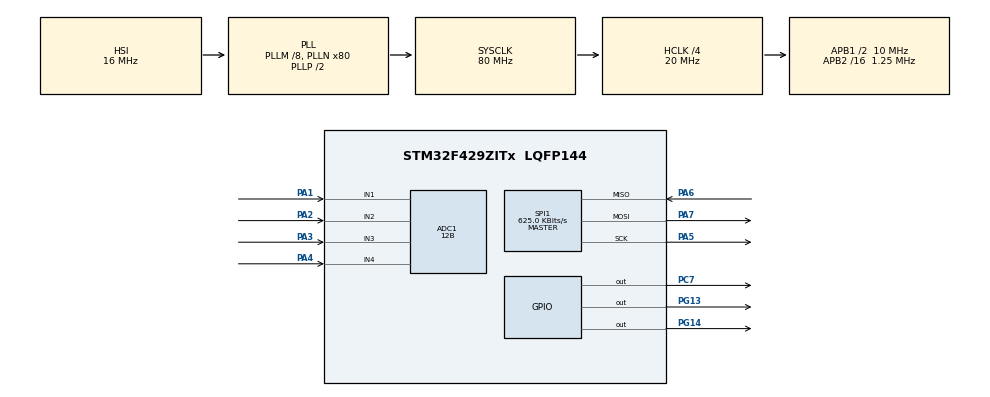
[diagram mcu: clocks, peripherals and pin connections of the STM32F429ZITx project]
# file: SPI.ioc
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ADC1.Channel-13\#ChannelRegularConversion=ADC_CHANNEL_1
ADC1.Channel-14\#ChannelRegularConversion=ADC_CHANNEL_2
ADC1.Channel-15\#ChannelRegularConversion=ADC_CHANNEL_3
ADC1.Channel-16\#ChannelRegularConversion=ADC_CHANNEL_4
ADC1.ContinuousConvMode=ENABLE
ADC1.DMAContinuousRequests=ENABLE
ADC1.NbrOfConversion=4
ADC1.NbrOfConversionFlag=1
ADC1.Rank-13\#ChannelRegularConversion=1
ADC1.Rank-14\#ChannelRegularConversion=2
ADC1.Rank-15\#ChannelRegularConversion=3
ADC1.Rank-16\#ChannelRegularConversion=4
ADC1.Resolution=ADC_RESOLUTION_12B
ADC1.SamplingTime-13\#ChannelRegularConversion=ADC_SAMPLETIME_480CYCLES
ADC1.SamplingTime-14\#ChannelRegularConversion=ADC_SAMPLETIME_480CYCLES
ADC1.SamplingTime-15\#ChannelRegularConversion=ADC_SAMPLETIME_480CYCLES
ADC1.SamplingTime-16\#ChannelRegularConversion=ADC_SAMPLETIME_480CYCLES
ADC1.ScanConvMode=ENABLE
ADC1.master=1
Dma.ADC1.2.Direction=DMA_PERIPH_TO_MEMORY
Dma.ADC1.2.FIFOMode=DMA_FIFOMODE_DISABLE
Dma.ADC1.2.Instance=DMA2_Stream4
Dma.ADC1.2.MemDataAlignment=DMA_MDATAALIGN_HALFWORD
Dma.ADC1.2.MemInc=DMA_MINC_ENABLE
Dma.ADC1.2.Mode=DMA_CIRCULAR
Dma.ADC1.2.PeriphDataAlignment=DMA_PDATAALIGN_HALFWORD
Dma.ADC1.2.PeriphInc=DMA_PINC_DISABLE
Dma.ADC1.2.Priority=DMA_PRIORITY_LOW
Dma.Request0=SPI1_RX
Dma.Request1=SPI1_TX
Dma.Request2=ADC1
Dma.SPI1_RX.0.Direction=DMA_PERIPH_TO_MEMORY
Dma.SPI1_RX.0.FIFOMode=DMA_FIFOMODE_DISABLE
Dma.SPI1_RX.0.Instance=DMA2_Stream0
Dma.SPI1_RX.0.MemDataAlignment=DMA_MDATAALIGN_BYTE
Dma.SPI1_RX.0.MemInc=DMA_MINC_ENABLE
Dma.SPI1_RX.0.Mode=DMA_NORMAL
Dma.SPI1_RX.0.PeriphDataAlignment=DMA_PDATAALIGN_BYTE
Dma.SPI1_RX.0.PeriphInc=DMA_PINC_DISABLE
Dma.SPI1_RX.0.Priority=DMA_PRIORITY_LOW
Dma.SPI1_TX.1.Direction=DMA_MEMORY_TO_PERIPH
Dma.SPI1_TX.1.FIFOMode=DMA_FIFOMODE_DISABLE
Dma.SPI1_TX.1.Instance=DMA2_Stream3
Dma.SPI1_TX.1.MemDataAlignment=DMA_MDATAALIGN_BYTE
Dma.SPI1_TX.1.MemInc=DMA_MINC_ENABLE
Dma.SPI1_TX.1.Mode=DMA_NORMAL
Dma.SPI1_TX.1.PeriphDataAlignment=DMA_PDATAALIGN_BYTE
Dma.SPI1_TX.1.PeriphInc=DMA_PINC_DISABLE
Dma.SPI1_TX.1.Priority=DMA_PRIORITY_LOW
FATFS._MAX_SS=4096
FATFS._USE_LFN=1
Mcu.Family=STM32F4
Mcu.Name=STM32F429ZITx
Mcu.Package=LQFP144
NVIC.DMA2_Stream0_IRQn=true\:0\:0\:false\:false\:true\:true\:true
NVIC.DMA2_Stream3_IRQn=true\:0\:0\:false\:false\:true\:true\:true
NVIC.DMA2_Stream4_IRQn=true\:0\:0\:false\:false\:true\:false\:true
NVIC.PriorityGroup=NVIC_PRIORITYGROUP_0
NVIC.SPI1_IRQn=true\:0\:0\:false\:false\:true\:true\:true
PA1.Signal=ADCx_IN1
PA2.Signal=ADCx_IN2
PA3.Signal=ADCx_IN3
PA4.Signal=ADCx_IN4
PA5.Mode=Full_Duplex_Master
PA5.Signal=SPI1_SCK
PA6.Mode=Full_Duplex_Master
PA6.Signal=SPI1_MISO
PA7.Mode=Full_Duplex_Master
PA7.Signal=SPI1_MOSI
PC7.GPIO_Speed=GPIO_SPEED_FREQ_MEDIUM
PC7.PinState=GPIO_PIN_SET
PC7.Signal=GPIO_Output
PG13.Signal=GPIO_Output
PG14.Signal=GPIO_Output
ProjectManager.HeapSize=0x2000
ProjectManager.StackSize=0x4000
ProjectManager.TargetToolchain=MDK-ARM V5
RCC.48MHZClocksFreq_Value=22857142.85714286
RCC.AHBCLKDivider=RCC_SYSCLK_DIV4
RCC.AHBFreq_Value=20000000
RCC.APB1CLKDivider=RCC_HCLK_DIV2
RCC.APB1Freq_Value=10000000
RCC.APB1TimFreq_Value=20000000
RCC.APB2CLKDivider=RCC_HCLK_DIV16
RCC.APB2Freq_Value=1250000
RCC.APB2TimFreq_Value=2500000
RCC.CortexFreq_Value=20000000
RCC.HCLKFreq_Value=20000000
RCC.HSE_VALUE=8000000
RCC.HSI_VALUE=16000000
RCC.LSE_VALUE=32768
RCC.PLLM=8
RCC.PLLN=80
RCC.PLLQ=7
RCC.SYSCLKFreq_VALUE=80000000
RCC.SYSCLKSource=RCC_SYSCLKSOURCE_PLLCLK
RCC.VCOOutputFreq_Value=160000000
SH.ADCx_IN1.0=ADC1_IN1,IN1
SH.ADCx_IN2.0=ADC1_IN2,IN2
SH.ADCx_IN3.0=ADC1_IN3,IN3
SH.ADCx_IN4.0=ADC1_IN4,IN4
SPI1.BaudRatePrescaler=SPI_BAUDRATEPRESCALER_2
SPI1.CalculateBaudRate=625.0 KBits/s
SPI1.Direction=SPI_DIRECTION_2LINES
SPI1.Mode=SPI_MODE_MASTER
SPI1.VirtualType=VM_MASTER
VP_FATFS_VS_Generic.Mode=User_defined
board=custom

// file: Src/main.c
/* USER CODE BEGIN Header */
/**
  ******************************************************************************
  * @file           : main.c
  * @brief          : Main program body
  ******************************************************************************
  * @attention
  *
  * <h2><center>&copy; Copyright (c) 2019 STMicroelectronics.
  * All rights reserved.</center></h2>
  *
  * This software component is licensed by ST under Ultimate Liberty license
  * SLA0044, the "License"; You may not use this file except in compliance with
  * the License. You may obtain a copy of the License at:
  *                             www.st.com/SLA0044
  *
  ******************************************************************************
  */
/* USER CODE END Header */

#include "main.h"
#include "fatfs.h"
#include<stdio.h>
#include<string.h>

ADC_HandleTypeDef hadc1;
DMA_HandleTypeDef hdma_adc1;

SPI_HandleTypeDef hspi1;
DMA_HandleTypeDef hdma_spi1_rx;
DMA_HandleTypeDef hdma_spi1_tx;

/* USER CODE BEGIN PV */
/* Private variables ---------------------------------------------------------*/
extern volatile uint16_t Timer3;
extern volatile uint16_t Timer4;
void changeCLKSpeed(void);
volatile uint16_t adcValArray[4];
volatile int numEntries = 0;
volatile uint16_t counter = 0;
int writeDelay = 2500;
volatile int numWrites = 0;
uint32_t AINHolder[20][5];
/* USER CODE END PV */

void SystemClock_Config(void);
static void MX_GPIO_Init(void);
static void MX_DMA_Init(void);
static void MX_SPI1_Init(void);
static void MX_ADC1_Init(void);
/* USER CODE BEGIN PFP */
/* Private function prototypes -----------------------------------------------*/

/* USER CODE END PFP */

int main(void)
{

  /* MCU Configuration--------------------------------------------------------*/

  /* Reset of all peripherals, Initializes the Flash interface and the Systick. */
  HAL_Init();

  /* Configure the system clock */
  SystemClock_Config();

  /* Initialize all configured peripherals */
  MX_GPIO_Init();
  MX_DMA_Init();
  MX_SPI1_Init();
  MX_FATFS_Init();
  MX_ADC1_Init();
  /* USER CODE BEGIN 2 */
	FATFS myFATFS;
	FIL myFILE;

	// testing of file writes/writing legend to data file
	if(f_mount(&myFATFS, USERPath, 1) == FR_OK){
			HAL_GPIO_WritePin ( GPIOG , GPIO_PIN_13 ,  GPIO_PIN_SET ) ;
	}
	char myFileName[] = "DATA.txt";
	changeCLKSpeed();
	if(f_open(&myFILE, myFileName, FA_WRITE|FA_OPEN_APPEND) == FR_OK){
			HAL_GPIO_WritePin ( GPIOG , GPIO_PIN_14 ,  GPIO_PIN_SET ) ;
	}
	else{
		HAL_GPIO_WritePin ( GPIOG , GPIO_PIN_13 ,  GPIO_PIN_RESET ) ;
	}
	if(f_printf(&myFILE, "%s,%s,%s,%s,%s\n%", "Time(ms)", "AIN0", "AIN1", "AIN2", "AIN3")){
			HAL_GPIO_WritePin ( GPIOG , GPIO_PIN_13 ,  GPIO_PIN_SET ) ;
			HAL_GPIO_WritePin ( GPIOG , GPIO_PIN_14 ,  GPIO_PIN_RESET ) ;
	}
	else{
		HAL_GPIO_WritePin ( GPIOG , GPIO_PIN_13 ,  GPIO_PIN_RESET ) ;
		HAL_GPIO_WritePin ( GPIOG , GPIO_PIN_14 ,  GPIO_PIN_SET ) ;
	}
	if(f_close(&myFILE) == FR_OK){
		HAL_GPIO_WritePin ( GPIOG , GPIO_PIN_13 ,  GPIO_PIN_SET ) ;
		HAL_GPIO_WritePin ( GPIOG , GPIO_PIN_14 ,  GPIO_PIN_SET ) ;
	}
	else{
		HAL_GPIO_WritePin ( GPIOG , GPIO_PIN_13 ,  GPIO_PIN_RESET ) ;
		HAL_GPIO_WritePin ( GPIOG , GPIO_PIN_14 ,  GPIO_PIN_RESET ) ;
	}

	// setup for DMA
	HAL_ADC_Start_DMA(&hadc1, (uint32_t *) adcValArray, 4);
  /* USER CODE END 2 */

  /* Infinite loop */
  while (1)
  {
				// write data to a buffer
				AINHolder[counter][0] = writeDelay*numWrites + 500*numEntries; //writeDelay*numWrites accounts for the time taken to write to the SD card
				AINHolder[counter][1] = adcValArray[0];
				AINHolder[counter][2] = adcValArray[1];
				AINHolder[counter][3] = adcValArray[2];
				AINHolder[counter][4] = adcValArray[3];
				counter++;
				numEntries++;
				if (counter > 19) {
				Timer4 = 1000;
				// flush buffer
				for (int i = 0; i < counter; i++) {
					if(f_open(&myFILE, myFileName, FA_WRITE|FA_OPEN_APPEND) == FR_OK){
						HAL_GPIO_WritePin ( GPIOG , GPIO_PIN_14 ,  GPIO_PIN_SET ) ;
					}
					else{
						HAL_GPIO_WritePin ( GPIOG , GPIO_PIN_13 ,  GPIO_PIN_RESET ) ;
					}
					if(f_printf(&myFILE, "%d, %d, %d, %d, %d\n%", AINHolder[i][0], AINHolder[i][1], AINHolder[i][2], AINHolder[i][3], AINHolder[i][4]) == FR_OK){
							HAL_GPIO_WritePin ( GPIOG , GPIO_PIN_13 ,  GPIO_PIN_SET ) ;
							HAL_GPIO_WritePin ( GPIOG , GPIO_PIN_14 ,  GPIO_PIN_RESET ) ;
					}
					else{
						HAL_GPIO_WritePin ( GPIOG , GPIO_PIN_13 ,  GPIO_PIN_RESET ) ;
						HAL_GPIO_WritePin ( GPIOG , GPIO_PIN_14 ,  GPIO_PIN_SET ) ;
					}
					if(f_close(&myFILE) == FR_OK){
						HAL_GPIO_WritePin ( GPIOG , GPIO_PIN_13 ,  GPIO_PIN_SET ) ;
						HAL_GPIO_WritePin ( GPIOG , GPIO_PIN_14 ,  GPIO_PIN_SET ) ;
					}
					else{
						HAL_GPIO_WritePin ( GPIOG , GPIO_PIN_13 ,  GPIO_PIN_RESET ) ;
						HAL_GPIO_WritePin ( GPIOG , GPIO_PIN_14 ,  GPIO_PIN_RESET ) ;
					}
				}
				numWrites++;
				counter = 0;
			}
				Timer3 = 50;
				while(Timer3);
  }
}

void SystemClock_Config(void)
{
  RCC_OscInitTypeDef RCC_OscInitStruct = {0};
  RCC_ClkInitTypeDef RCC_ClkInitStruct = {0};

  /** Configure the main internal regulator output voltage
  */
  __HAL_RCC_PWR_CLK_ENABLE();
  __HAL_PWR_VOLTAGESCALING_CONFIG(PWR_REGULATOR_VOLTAGE_SCALE3);
  /** Initializes the CPU, AHB and APB busses clocks
  */
  RCC_OscInitStruct.OscillatorType = RCC_OSCILLATORTYPE_HSI;
  RCC_OscInitStruct.HSIState = RCC_HSI_ON;
  RCC_OscInitStruct.HSICalibrationValue = RCC_HSICALIBRATION_DEFAULT;
  RCC_OscInitStruct.PLL.PLLState = RCC_PLL_ON;
  RCC_OscInitStruct.PLL.PLLSource = RCC_PLLSOURCE_HSI;
  RCC_OscInitStruct.PLL.PLLM = 8;
  RCC_OscInitStruct.PLL.PLLN = 80;
  RCC_OscInitStruct.PLL.PLLP = RCC_PLLP_DIV2;
  RCC_OscInitStruct.PLL.PLLQ = 7;
  if (HAL_RCC_OscConfig(&RCC_OscInitStruct) != HAL_OK)
  {
    Error_Handler();
  }
  /** Initializes the CPU, AHB and APB busses clocks
  */
  RCC_ClkInitStruct.ClockType = RCC_CLOCKTYPE_HCLK|RCC_CLOCKTYPE_SYSCLK
                              |RCC_CLOCKTYPE_PCLK1|RCC_CLOCKTYPE_PCLK2;
  RCC_ClkInitStruct.SYSCLKSource = RCC_SYSCLKSOURCE_PLLCLK;
  RCC_ClkInitStruct.AHBCLKDivider = RCC_SYSCLK_DIV4;
  RCC_ClkInitStruct.APB1CLKDivider = RCC_HCLK_DIV2;
  RCC_ClkInitStruct.APB2CLKDivider = RCC_HCLK_DIV16;

  if (HAL_RCC_ClockConfig(&RCC_ClkInitStruct, FLASH_LATENCY_0) != HAL_OK)
  {
    Error_Handler();
  }

	// Update SystemCoreClock variable
  SystemCoreClockUpdate();
  // Make SysTick overflow every 1ms
  SysTick_Config(SystemCoreClock / 1000);

}

static void MX_ADC1_Init(void)
{

  ADC_ChannelConfTypeDef sConfig = {0};

  /** Configure the global features of the ADC (Clock, Resolution, Data Alignment and number of conversion)
  */
  hadc1.Instance = ADC1;
  hadc1.Init.ClockPrescaler = ADC_CLOCK_SYNC_PCLK_DIV2;
  hadc1.Init.Resolution = ADC_RESOLUTION_12B;
  hadc1.Init.ScanConvMode = ENABLE;
  hadc1.Init.ContinuousConvMode = ENABLE;
  hadc1.Init.DiscontinuousConvMode = DISABLE;
  hadc1.Init.ExternalTrigConvEdge = ADC_EXTERNALTRIGCONVEDGE_NONE;
  hadc1.Init.ExternalTrigConv = ADC_SOFTWARE_START;
  hadc1.Init.DataAlign = ADC_DATAALIGN_RIGHT;
  hadc1.Init.NbrOfConversion = 4;
  hadc1.Init.DMAContinuousRequests = ENABLE;
  hadc1.Init.EOCSelection = ADC_EOC_SINGLE_CONV;
  if (HAL_ADC_Init(&hadc1) != HAL_OK)
  {
    Error_Handler();
  }
  /** Configure for the selected ADC regular channel its corresponding rank in the sequencer and its sample time.
  */
  sConfig.Channel = ADC_CHANNEL_1;
  sConfig.Rank = 1;
  sConfig.SamplingTime = ADC_SAMPLETIME_480CYCLES;
  if (HAL_ADC_ConfigChannel(&hadc1, &sConfig) != HAL_OK)
  {
    Error_Handler();
  }
  /** Configure for the selected ADC regular channel its corresponding rank in the sequencer and its sample time.
  */
  sConfig.Channel = ADC_CHANNEL_2;
  sConfig.Rank = 2;
  if (HAL_ADC_ConfigChannel(&hadc1, &sConfig) != HAL_OK)
  {
    Error_Handler();
  }
  /** Configure for the selected ADC regular channel its corresponding rank in the sequencer and its sample time.
  */
  sConfig.Channel = ADC_CHANNEL_3;
  sConfig.Rank = 3;
  if (HAL_ADC_ConfigChannel(&hadc1, &sConfig) != HAL_OK)
  {
    Error_Handler();
  }
  /** Configure for the selected ADC regular channel its corresponding rank in the sequencer and its sample time.
  */
  sConfig.Channel = ADC_CHANNEL_4;
  sConfig.Rank = 4;
  if (HAL_ADC_ConfigChannel(&hadc1, &sConfig) != HAL_OK)
  {
    Error_Handler();
  }

}

static void MX_SPI1_Init(void)
{

  /* SPI1 parameter configuration*/
  hspi1.Instance = SPI1;
  hspi1.Init.Mode = SPI_MODE_MASTER;
  hspi1.Init.Direction = SPI_DIRECTION_2LINES;
  hspi1.Init.DataSize = SPI_DATASIZE_8BIT;
  hspi1.Init.CLKPolarity = SPI_POLARITY_LOW;
  hspi1.Init.CLKPhase = SPI_PHASE_1EDGE;
  hspi1.Init.NSS = SPI_NSS_SOFT;
  hspi1.Init.BaudRatePrescaler = SPI_BAUDRATEPRESCALER_2;
  hspi1.Init.FirstBit = SPI_FIRSTBIT_MSB;
  hspi1.Init.TIMode = SPI_TIMODE_DISABLE;
  hspi1.Init.CRCCalculation = SPI_CRCCALCULATION_DISABLE;
  hspi1.Init.CRCPolynomial = 10;
  if (HAL_SPI_Init(&hspi1) != HAL_OK)
  {
    Error_Handler();
  }

}

static void MX_DMA_Init(void)
{
  /* DMA controller clock enable */
  __HAL_RCC_DMA2_CLK_ENABLE();

  /* DMA interrupt init */
  /* DMA2_Stream0_IRQn interrupt configuration */
  HAL_NVIC_SetPriority(DMA2_Stream0_IRQn, 0, 0);
  HAL_NVIC_EnableIRQ(DMA2_Stream0_IRQn);
  /* DMA2_Stream3_IRQn interrupt configuration */
  HAL_NVIC_SetPriority(DMA2_Stream3_IRQn, 0, 0);
  HAL_NVIC_EnableIRQ(DMA2_Stream3_IRQn);
  /* DMA2_Stream4_IRQn interrupt configuration */
  HAL_NVIC_SetPriority(DMA2_Stream4_IRQn, 0, 0);
  HAL_NVIC_EnableIRQ(DMA2_Stream4_IRQn);

}

static void MX_GPIO_Init(void)
{
  GPIO_InitTypeDef GPIO_InitStruct = {0};

  /* GPIO Ports Clock Enable */
  __HAL_RCC_GPIOA_CLK_ENABLE();
  __HAL_RCC_GPIOC_CLK_ENABLE();
  __HAL_RCC_GPIOG_CLK_ENABLE();

  /*Configure GPIO pin Output Level */
  HAL_GPIO_WritePin(GPIOC, GPIO_PIN_7, GPIO_PIN_SET);

  /*Configure GPIO pin Output Level */
  HAL_GPIO_WritePin(GPIOG, GPIO_PIN_13|GPIO_PIN_14, GPIO_PIN_RESET);

  /*Configure GPIO pin : PC7 */
  GPIO_InitStruct.Pin = GPIO_PIN_7;
  GPIO_InitStruct.Mode = GPIO_MODE_OUTPUT_PP;
  GPIO_InitStruct.Pull = GPIO_NOPULL;
  GPIO_InitStruct.Speed = GPIO_SPEED_FREQ_MEDIUM;
  HAL_GPIO_Init(GPIOC, &GPIO_InitStruct);

  /*Configure GPIO pins : PG13 PG14 */
  GPIO_InitStruct.Pin = GPIO_PIN_13|GPIO_PIN_14;
  GPIO_InitStruct.Mode = GPIO_MODE_OUTPUT_PP;
  GPIO_InitStruct.Pull = GPIO_NOPULL;
  GPIO_InitStruct.Speed = GPIO_SPEED_FREQ_LOW;
  HAL_GPIO_Init(GPIOG, &GPIO_InitStruct);

}

/* USER CODE BEGIN 4 */
void changeCLKSpeed(void){
  RCC_ClkInitTypeDef RCC_ClkInitStruct = {0};
  /** Initializes the CPU, AHB and APB busses clocks
  */
  RCC_ClkInitStruct.ClockType = RCC_CLOCKTYPE_HCLK|RCC_CLOCKTYPE_SYSCLK
                              |RCC_CLOCKTYPE_PCLK1|RCC_CLOCKTYPE_PCLK2;
  RCC_ClkInitStruct.SYSCLKSource = RCC_SYSCLKSOURCE_PLLCLK;
  RCC_ClkInitStruct.AHBCLKDivider = RCC_SYSCLK_DIV8;
  RCC_ClkInitStruct.APB1CLKDivider = RCC_HCLK_DIV2;
  RCC_ClkInitStruct.APB2CLKDivider = RCC_HCLK_DIV1;

  if (HAL_RCC_ClockConfig(&RCC_ClkInitStruct, FLASH_LATENCY_0) != HAL_OK)
  {
    Error_Handler();
  }
}
/* USER CODE END 4 */

void Error_Handler(void)
{
  while(1)
  {
  }
}

/************************ (C) COPYRIGHT STMicroelectronics *****END OF FILE****/
